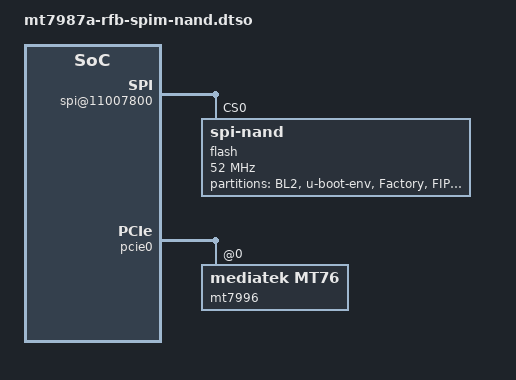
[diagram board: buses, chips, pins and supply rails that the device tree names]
// SPDX-License-Identifier: (GPL-2.0 OR MIT)

/dts-v1/;
/plugin/;

/ {
	fragment@0 {
		target-path = "/soc/spi@11007800";
		__overlay__ {
			pinctrl-names = "default";
			pinctrl-0 = <&spi0_flash_pins>;
			status = "okay";

			flash@0 {
				compatible = "spi-nand";
				reg = <0>;
				spi-max-frequency = <52000000>;
				spi-tx-bus-width = <4>;
				spi-rx-bus-width = <4>;
				mediatek,nmbm;
				mediatek,bmt-max-ratio = <1>;
				mediatek,bmt-max-reserved-blocks = <64>;

				partitions {
					compatible = "fixed-partitions";
					#address-cells = <1>;
					#size-cells = <1>;

					partition@0 {
						label = "BL2";
						reg = <0x00000 0x0100000>;
						read-only;
					};

					partition@100000 {
						label = "u-boot-env";
						reg = <0x0100000 0x0080000>;
					};

					factory: partition@180000 {
						label = "Factory";
						reg = <0x180000 0x0400000>;

						nvmem-layout {
							compatible = "fixed-layout";
							#address-cells = <1>;
							#size-cells = <1>;

							gmac2_mac: eeprom@fffee {
								reg = <0xfffee 0x6>;
							};

							gmac1_mac: eeprom@ffffa {
								reg = <0xffffa 0x6>;
							};

							gmac0_mac: eeprom@ffff4 {
								reg = <0xffff4 0x6>;
							};
						};
					};

					partition@580000 {
						label = "FIP";
						reg = <0x580000 0x0200000>;
					};

					partition@780000 {
						label = "ubi";
						reg = <0x780000 0x7080000>;
						compatible = "linux,ubi";

						volumes {
							ubi_rootfs: ubi-volume-fit {
								volname = "firmware";
							};
						};
					};
				};
			};
		};
	};

	fragment@1 {
		target-path = "/chosen";
		__overlay__ {
			rootdisk-spim-nand = <&ubi_rootfs>;
		};
	};

	fragment@2 {
		target = <&pcie0>;
		__overlay__ {
			slot0: pcie@0,0 {
				reg = <0x0000 0 0 0 0>;

				mt7996@0,0 {
					compatible = "mediatek,mt76";
					reg = <0x0000 0 0 0 0>;
					device_type = "pci";
					mediatek,mtd-eeprom = <&factory 0x0>;
				};
			};
		};
	};

	fragment@3 {
		target = <&gmac0>;
		__overlay__ {
			nvmem-cell-names = "mac-address";
			nvmem-cells = <&gmac0_mac>;
		};
	};

	fragment@4 {
		target = <&gmac1>;
		__overlay__ {
			nvmem-cell-names = "mac-address";
			nvmem-cells = <&gmac1_mac>;
		};
	};

	fragment@5 {
		target = <&gmac2>;
		__overlay__ {
			nvmem-cell-names = "mac-address";
			nvmem-cells = <&gmac2_mac>;
		};
	};
};
